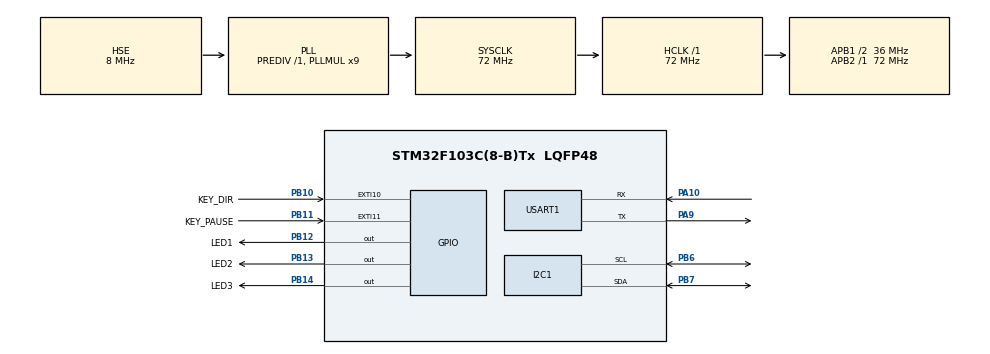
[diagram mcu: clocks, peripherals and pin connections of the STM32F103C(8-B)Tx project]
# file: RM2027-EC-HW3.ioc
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Dma.I2C1_RX.0.Direction=DMA_PERIPH_TO_MEMORY
Dma.I2C1_RX.0.Instance=DMA1_Channel7
Dma.I2C1_RX.0.MemDataAlignment=DMA_MDATAALIGN_BYTE
Dma.I2C1_RX.0.MemInc=DMA_MINC_ENABLE
Dma.I2C1_RX.0.Mode=DMA_NORMAL
Dma.I2C1_RX.0.PeriphDataAlignment=DMA_PDATAALIGN_BYTE
Dma.I2C1_RX.0.PeriphInc=DMA_PINC_DISABLE
Dma.I2C1_RX.0.Priority=DMA_PRIORITY_LOW
Dma.I2C1_TX.1.Direction=DMA_MEMORY_TO_PERIPH
Dma.I2C1_TX.1.Instance=DMA1_Channel6
Dma.I2C1_TX.1.MemDataAlignment=DMA_MDATAALIGN_BYTE
Dma.I2C1_TX.1.MemInc=DMA_MINC_ENABLE
Dma.I2C1_TX.1.Mode=DMA_NORMAL
Dma.I2C1_TX.1.PeriphDataAlignment=DMA_PDATAALIGN_BYTE
Dma.I2C1_TX.1.PeriphInc=DMA_PINC_DISABLE
Dma.I2C1_TX.1.Priority=DMA_PRIORITY_LOW
Dma.Request0=I2C1_RX
Dma.Request1=I2C1_TX
Dma.Request2=USART1_RX
Dma.Request3=USART1_TX
Dma.USART1_RX.2.Direction=DMA_PERIPH_TO_MEMORY
Dma.USART1_RX.2.Instance=DMA1_Channel5
Dma.USART1_RX.2.MemDataAlignment=DMA_MDATAALIGN_BYTE
Dma.USART1_RX.2.MemInc=DMA_MINC_ENABLE
Dma.USART1_RX.2.Mode=DMA_NORMAL
Dma.USART1_RX.2.PeriphDataAlignment=DMA_PDATAALIGN_BYTE
Dma.USART1_RX.2.PeriphInc=DMA_PINC_DISABLE
Dma.USART1_RX.2.Priority=DMA_PRIORITY_LOW
Dma.USART1_TX.3.Direction=DMA_MEMORY_TO_PERIPH
Dma.USART1_TX.3.Instance=DMA1_Channel4
Dma.USART1_TX.3.MemDataAlignment=DMA_MDATAALIGN_BYTE
Dma.USART1_TX.3.MemInc=DMA_MINC_ENABLE
Dma.USART1_TX.3.Mode=DMA_NORMAL
Dma.USART1_TX.3.PeriphDataAlignment=DMA_PDATAALIGN_BYTE
Dma.USART1_TX.3.PeriphInc=DMA_PINC_DISABLE
Dma.USART1_TX.3.Priority=DMA_PRIORITY_LOW
Mcu.Family=STM32F1
Mcu.Name=STM32F103C(8-B)Tx
Mcu.Package=LQFP48
NVIC.DMA1_Channel4_IRQn=true\:0\:0\:false\:false\:true\:false\:true\:true
NVIC.DMA1_Channel5_IRQn=true\:0\:0\:false\:false\:true\:false\:true\:true
NVIC.DMA1_Channel6_IRQn=true\:0\:0\:false\:false\:true\:false\:true\:true
NVIC.DMA1_Channel7_IRQn=true\:0\:0\:false\:false\:true\:false\:true\:true
NVIC.EXTI15_10_IRQn=true\:0\:0\:false\:false\:true\:true\:true\:true
NVIC.PriorityGroup=NVIC_PRIORITYGROUP_4
NVIC.USART1_IRQn=true\:0\:0\:false\:false\:true\:true\:true\:true
PA10.Mode=Asynchronous
PA10.Signal=USART1_RX
PA13.Mode=Serial_Wire
PA13.Signal=SYS_JTMS-SWDIO
PA14.Mode=Serial_Wire
PA14.Signal=SYS_JTCK-SWCLK
PA9.Mode=Asynchronous
PA9.Signal=USART1_TX
PB10.GPIO_Label=KEY_DIR
PB10.GPIO_ModeDefaultEXTI=GPIO_MODE_IT_FALLING
PB10.GPIO_PuPd=GPIO_PULLUP
PB10.Signal=GPXTI10
PB11.GPIO_Label=KEY_PAUSE
PB11.GPIO_ModeDefaultEXTI=GPIO_MODE_IT_FALLING
PB11.GPIO_PuPd=GPIO_PULLUP
PB11.Signal=GPXTI11
PB12.GPIO_Label=LED1
PB12.GPIO_Speed=GPIO_SPEED_FREQ_HIGH
PB12.PinState=GPIO_PIN_SET
PB12.Signal=GPIO_Output
PB13.GPIO_Label=LED2
PB13.GPIO_Speed=GPIO_SPEED_FREQ_HIGH
PB13.PinState=GPIO_PIN_SET
PB13.Signal=GPIO_Output
PB14.GPIO_Label=LED3
PB14.GPIO_Speed=GPIO_SPEED_FREQ_HIGH
PB14.PinState=GPIO_PIN_SET
PB14.Signal=GPIO_Output
PB6.Mode=I2C
PB6.Signal=I2C1_SCL
PB7.Mode=I2C
PB7.Signal=I2C1_SDA
PD0-OSC_IN.Mode=HSE-External-Oscillator
PD0-OSC_IN.Signal=RCC_OSC_IN
PD1-OSC_OUT.Mode=HSE-External-Oscillator
PD1-OSC_OUT.Signal=RCC_OSC_OUT
ProjectManager.HeapSize=0x200
ProjectManager.StackSize=0x400
ProjectManager.TargetToolchain=CMake
RCC.AHBFreq_Value=72000000
RCC.APB1CLKDivider=RCC_HCLK_DIV2
RCC.APB1Freq_Value=36000000
RCC.APB1TimFreq_Value=72000000
RCC.APB2Freq_Value=72000000
RCC.APB2TimFreq_Value=72000000
RCC.EnbaleCSS=true
RCC.HCLKFreq_Value=72000000
RCC.PLLMUL=RCC_PLL_MUL9
RCC.PLLSourceVirtual=RCC_PLLSOURCE_HSE
RCC.SYSCLKFreq_VALUE=72000000
RCC.SYSCLKSource=RCC_SYSCLKSOURCE_PLLCLK
RCC.USBFreq_Value=72000000
USART1.VirtualMode=VM_ASYNC
board=custom

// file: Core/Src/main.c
/* USER CODE BEGIN Header */
/**
  ******************************************************************************
  * @file           : main.c
  * @brief          : Main program body
  ******************************************************************************
  * @attention
  *
  * Copyright (c) 2026 STMicroelectronics.
  * All rights reserved.
  *
  * This software is licensed under terms that can be found in the LICENSE file
  * in the root directory of this software component.
  * If no LICENSE file comes with this software, it is provided AS-IS.
  *
  ******************************************************************************
  */
/* USER CODE END Header */
#include "main.h"
#include "dma.h"
#include "i2c.h"
#include "usart.h"
#include "gpio.h"

/* USER CODE BEGIN Includes */
#include <string.h>
#include <stdio.h>
#include "OLED.h"
/* USER CODE END Includes */

/* USER CODE BEGIN PTD */
typedef struct __attribute__((packed))
{
  uint8_t head;
  uint8_t run;
  uint8_t dir;
  uint8_t step_l;
  uint8_t step_h;
  uint8_t check;
} CmdPacket;
/* USER CODE END PTD */

/* USER CODE BEGIN PV */
static int8_t step =0;
static uint32_t  lastclick = 0;
uint8_t receivedata[50];
volatile uint8_t dir_flag   = 0;
volatile uint8_t pause_flag = 0;
volatile static uint32_t  last_dir_tick   = 0;
volatile static uint32_t  last_pause_tick = 0;
volatile static uint32_t  run = 1;
volatile static uint32_t  dir = 1;
volatile uint8_t rx_flag  =0;
static uint8_t  rx_pkt[6];              // 回调里拷出的一帧，主循环只读这个
static uint16_t step_ms = 200;          // 当前节拍(ms)，串口可改
static uint8_t  tx_busy = 0;            // 上一帧还没发完
static char tx_buf[48];                 // 回传缓冲区
static uint8_t  need_tx = 0;            // 有状态变化待回传
static uint8_t  need_oled = 1;          // 有状态变化待整体刷新
static uint8_t  need_led_line = 0;      // 只有 LED 行变了，局部刷新

/* USER CODE END PV */

void SystemClock_Config(void);

/* USER CODE BEGIN 0 */
/* 把当前状态刷到 OLED 四行，定宽补空格避免旧字符残留 */
static void OLED_ShowState(void)
{
  char text[20];
  char line[32];      /* 16 显示列 + 余量，避免 -Wformat-truncation 报警 */

  /* 先拼出内容，再整体补齐到 16 列：
     长的用空格顶掉残留，短的补空格，保证每次都是完整 16 列 */
  snprintf(text, sizeof(text), "STATE: %s", run ? "RUN" : "PAUSE");
  snprintf(line, sizeof(line), "%-16s", text);
  OLED_ShowString(1, 1, line);

  snprintf(text, sizeof(text), "DIR: %s", dir ? "FWD" : "REV");
  snprintf(line, sizeof(line), "%-16s", text);
  OLED_ShowString(2, 1, line);

  snprintf(text, sizeof(text), "STEP: %ums", (unsigned)step_ms);
  snprintf(line, sizeof(line), "%-16s", text);
  OLED_ShowString(3, 1, line);

  snprintf(text, sizeof(text), "LED: %u", (unsigned)(step + 1));
  snprintf(line, sizeof(line), "%-16s", text);
  OLED_ShowString(4, 1, line);
}

/* 只刷第 4 行 LED：
   流水灯每一步只改 LED 行，整屏重刷一遍要 1024 次 I2C 事务，
   在 200ms 节拍下会把主循环堵死，所以切灯走这个轻量版。 */
static void OLED_ShowLedLine(void)
{
  char text[20];
  char line[32];

  snprintf(text, sizeof(text), "LED: %u", (unsigned)(step + 1));
  snprintf(line, sizeof(line), "%-16s", text);
  OLED_ShowString(4, 1, line);
}
/* USER CODE END 0 */

int main(void)
{

  /* MCU Configuration--------------------------------------------------------*/

  /* Reset of all peripherals, Initializes the Flash interface and the Systick. */
  HAL_Init();

  /* Configure the system clock */
  SystemClock_Config();

  /* Initialize all configured peripherals */
  MX_GPIO_Init();
  MX_DMA_Init();
  MX_USART1_UART_Init();
  MX_I2C1_Init();
  /* USER CODE BEGIN 2 */
  /* LED 高电平点亮：先把三颗全拉低，再点亮第一颗，
     这样开机瞬间屏上的 "LED: 1" 和实际亮着的灯就是一致的 */
  HAL_GPIO_WritePin(GPIOB, LED1_Pin | LED2_Pin | LED3_Pin, GPIO_PIN_RESET);
  HAL_GPIO_WritePin(LED1_GPIO_Port, LED1_Pin, GPIO_PIN_SET);

  memset(receivedata, 0, sizeof(receivedata));
  HAL_UARTEx_ReceiveToIdle_DMA(&huart1,receivedata,sizeof(receivedata));

  OLED_Init();
  OLED_ShowState();
  need_oled = 0;      /* 上面已经整屏刷过一次，别让主循环再白刷一遍 */

  /* USER CODE END 2 */

  /* Infinite loop */
  while (1)
  {

    /* USER CODE BEGIN 3 */
    uint32_t now_time = HAL_GetTick();

    /* 1. 消费方向事件 */
    if (dir_flag)
    {
      dir_flag = 0;
      dir = 1 - dir;              // 翻转 dir
      lastclick = now_time; // 方向变了重新计时
      need_tx = 1;
      need_oled = 1;
    }

    /* 2. 消费暂停事件 */
    if (pause_flag)
    {
      pause_flag = 0;
      run = 1 - run;              // 翻转 run
      if (run) { lastclick = now_time; }   // 只有"恢复"才重置
      need_tx = 1;
      need_oled = 1;
    }

    /* 2.5 消费串口事件：解析 + 校验 + 应用 */
    if (rx_flag)
    {
      rx_flag = 0;

      /* 回调里已经把这一帧拷进 rx_pkt 并立刻重启了 DMA，
         这里直接读 rx_pkt，不会和下一帧抢同一个缓冲区 */
      uint8_t buf[6];
      memcpy(buf, rx_pkt, 6);

      CmdPacket *pkt = (CmdPacket *)buf;
      uint8_t sum = (uint8_t)(pkt->head + pkt->run + pkt->dir
                              + pkt->step_l + pkt->step_h);
      uint16_t new_step = (uint16_t)pkt->step_l | ((uint16_t)pkt->step_h << 8);

      /* 帧头对、校验对、字段合法才应用；否则原样丢弃 */
      if (pkt->head == 0xAA && sum == pkt->check
          && pkt->run <= 1 && pkt->dir <= 1
          && new_step >= 100 && new_step <= 2000)
      {
        run     = pkt->run;
        /* 协议里 DIR=00 是正向、01 是反向；内部 dir=1 才是正向，要反过来 */
        dir     = (pkt->dir == 0) ? 1 : 0;
        step_ms = new_step;
        lastclick = now_time;   // 换了节拍，重新计时
        need_tx = 1;
        need_oled = 1;
      }
    }

    /* 3. 只在运行时推进 */
    if (run)
    {
      if (now_time - lastclick >= step_ms)
      {
        lastclick += step_ms;

        // 先全部熄灭（高电平点亮，所以熄灭=拉低）
        HAL_GPIO_WritePin(LED1_GPIO_Port, LED1_Pin, GPIO_PIN_RESET);
        HAL_GPIO_WritePin(LED2_GPIO_Port, LED2_Pin, GPIO_PIN_RESET);
        HAL_GPIO_WritePin(LED3_GPIO_Port, LED3_Pin, GPIO_PIN_RESET);

        // 再按 step 点亮对应的灯（高电平点亮）
        if (step == 0)
        {
          HAL_GPIO_WritePin(LED1_GPIO_Port, LED1_Pin, GPIO_PIN_SET);
        }
        else if (step == 1)
        {
          HAL_GPIO_WritePin(LED2_GPIO_Port, LED2_Pin, GPIO_PIN_SET);
        }
        else if (step == 2)
        {
          HAL_GPIO_WritePin(LED3_GPIO_Port, LED3_Pin, GPIO_PIN_SET);
        }

        if (dir)
        {
          step++;        // 正向
        }
        else
        {
          step--;        // 反向
        }

        if (step > 2) step = 0;
        if (step < 0) step = 2;

        need_led_line = 1;   // 只改了 LED，局部刷第 4 行
     }
    }

    /* 4. 状态有变化就回传一帧 */
    if (need_tx && !tx_busy)
    {
      need_tx = 0;
      int n = snprintf(tx_buf, sizeof(tx_buf),
                       "STATE=%s,DIR=%s,STEP=%u,LED=%u\r\n",
                       run ? "RUN" : "PAUSE",
                       dir ? "FWD" : "REV",
                       (unsigned)step_ms,
                       (unsigned)(step + 1));
      if (HAL_UART_Transmit_IT(&huart1, (uint8_t *)tx_buf, (uint16_t)n) == HAL_OK)
      {
        tx_busy = 1;
      }
      else
      {
        need_tx = 1;   // 串口忙，下轮再试
      }
    }

    /* 5. 状态有变化就刷屏 */
    if (need_oled)
    {
      need_oled = 0;
      need_led_line = 0;          // 整屏刷新已经把 LED 行带上了
      OLED_ShowState();
    }
    else if (need_led_line)
    {
      need_led_line = 0;
      OLED_ShowLedLine();         // 只改了 LED 行
    }

  /* USER CODE END 3 */

    }

}

void SystemClock_Config(void)
{
  RCC_OscInitTypeDef RCC_OscInitStruct = {0};
  RCC_ClkInitTypeDef RCC_ClkInitStruct = {0};

  /** Initializes the RCC Oscillators according to the specified parameters
  * in the RCC_OscInitTypeDef structure.
  */
  RCC_OscInitStruct.OscillatorType = RCC_OSCILLATORTYPE_HSE;
  RCC_OscInitStruct.HSEState = RCC_HSE_ON;
  RCC_OscInitStruct.HSEPredivValue = RCC_HSE_PREDIV_DIV1;
  RCC_OscInitStruct.HSIState = RCC_HSI_ON;
  RCC_OscInitStruct.PLL.PLLState = RCC_PLL_ON;
  RCC_OscInitStruct.PLL.PLLSource = RCC_PLLSOURCE_HSE;
  RCC_OscInitStruct.PLL.PLLMUL = RCC_PLL_MUL9;
  if (HAL_RCC_OscConfig(&RCC_OscInitStruct) != HAL_OK)
  {
    Error_Handler();
  }

  /** Initializes the CPU, AHB and APB buses clocks
  */
  RCC_ClkInitStruct.ClockType = RCC_CLOCKTYPE_HCLK|RCC_CLOCKTYPE_SYSCLK
                              |RCC_CLOCKTYPE_PCLK1|RCC_CLOCKTYPE_PCLK2;
  RCC_ClkInitStruct.SYSCLKSource = RCC_SYSCLKSOURCE_PLLCLK;
  RCC_ClkInitStruct.AHBCLKDivider = RCC_SYSCLK_DIV1;
  RCC_ClkInitStruct.APB1CLKDivider = RCC_HCLK_DIV2;
  RCC_ClkInitStruct.APB2CLKDivider = RCC_HCLK_DIV1;

  if (HAL_RCC_ClockConfig(&RCC_ClkInitStruct, FLASH_LATENCY_2) != HAL_OK)
  {
    Error_Handler();
  }

  /** Enables the Clock Security System
  */
  HAL_RCC_EnableCSS();
}

/* USER CODE BEGIN 4 */
void HAL_GPIO_EXTI_Callback(uint16_t GPIO_Pin)
{
  uint32_t now_time = HAL_GetTick();

  if (GPIO_Pin==KEY_DIR_Pin)
  {
    if (now_time - last_dir_tick >= 20)
    {
      last_dir_tick = now_time;

      dir_flag =1;
    }
  }

  else if (GPIO_Pin==KEY_PAUSE_Pin)
  {
    if (now_time - last_pause_tick >= 20)
    {
      last_pause_tick = now_time;
      pause_flag =1;
    }
  }
}

/* 串口 DMA 空闲中断回调：只记标志，解析交给主循环 */
void HAL_UARTEx_RxEventCallback(UART_HandleTypeDef *huart, uint16_t Size)
{
  if (huart->Instance != USART1) return;

  /* 半传输也会进这里，那不是"收完一包"，直接忽略 */
  if (huart->RxEventType != HAL_UART_RXEVENT_IDLE) return;

  /* 用 >= 而不是 ==：USB-TTL 或串口助手有时会把 6 字节拆成两次空闲事件，
     写死 == 6 会两包全丢。解析端只取前 6 字节，多收的字节不影响。 */
  if (Size >= 6)
  {
    /* 关键：先在回调里把这一帧拷走，再重启 DMA。
       如果等主循环去读 receivedata，那期间 DMA 已经在往同一个缓冲区写下一帧，
       拷到一半就会被新数据覆盖，校验随机失败。 */
    memcpy(rx_pkt, receivedata, 6);
    rx_flag = 1;
  }

  /* 必须重新启动，否则只收得到一包 */
  HAL_UARTEx_ReceiveToIdle_DMA(&huart1, receivedata, sizeof(receivedata));
}

void HAL_UART_TxCpltCallback(UART_HandleTypeDef *huart)
{
  if (huart->Instance == USART1)
  {
    tx_busy = 0;
  }
}

/* USER CODE END 4 */

void Error_Handler(void)
{
  __disable_irq();
  while (1)
  {
  }
}
